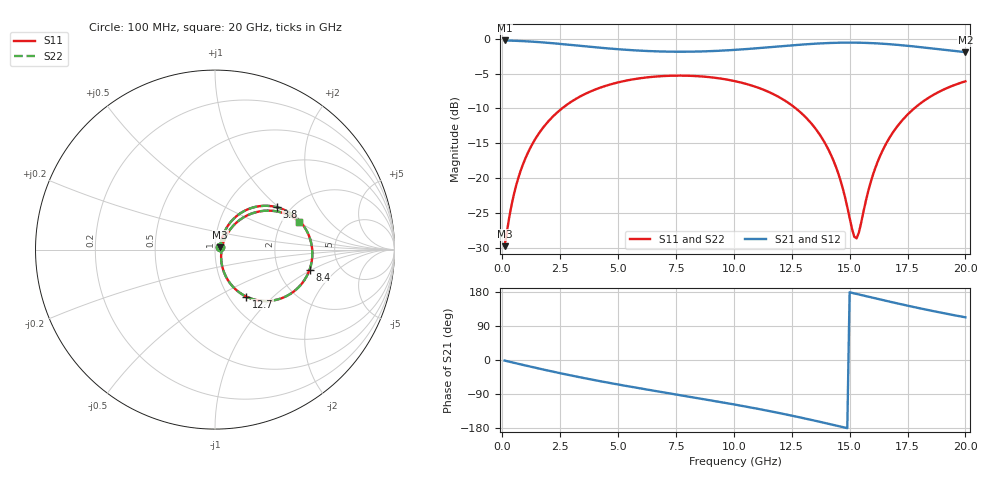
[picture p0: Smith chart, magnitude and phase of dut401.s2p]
! Touchstone file exported from HFSS 2026.1.0
!  File:  C:/ffzhzh/LocalFiles/Ansys_Project_Files/temp_train_TSV_RDL_401_1783092437_50312.aedt
!  Generated:  11:38:22 PM Jul  3, 2026
!  Design:  TSV_RDL
!  Project:  temp_train_TSV_RDL_401_1783092437_50312
! Variables:
!  h_bsmrdl = 3.64um
!  h_ox = 20um
!  h_rdl = 5um
!  h_sub = 70.96um
!  h_tmrdl = 5.43um
!  h_tsv = 70.96um
!  h_via = 3um
!  l_bsmrdl = 910.4um
!  l_sub = 4013.08um
!  l_tmrdl = 194.13um
!  m_sub = 200um
!  pitch = 35.33um
!  r_tsv = 7.24um
!  s_tmrdl = 10um
!  w_bsmrdl = 10.17um
!  w_sub = 500um
!  w_tmrdl = 24.95um
!  x_tsv_center1 = 206.605um
!  x_tsv_center2 = 1127.175um
!  x_tsv_center3 = 1346.255um
!  x_tsv_center4 = 2266.825um
!  x_tsv_center5 = 2485.905um
!  x_tsv_center6 = 3406.475um
# GHz S MA R 50.000000
! Terminal data exported
! Port[1] = TM_RDL1_1_T1
! Port[2] = TM_RDL5_1_T1
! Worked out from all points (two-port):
!   200 points, 100 MHz to 20 GHz, reference 50 ohm
!   highest |S21| = -0.26 dB at 100 MHz (marker M1); lowest = -1.9 dB at 20 GHz (marker M2)
!   |S21| within 3 dB of the highest: start of sweep to end of sweep
!   lowest |S11| = -29.8 dB at 100 MHz (marker M3), VSWR 1.07, Z = 53 + j1.46 ohm
!   |S11| at or under -10 dB: start of sweep to 2.58 GHz; 12.68 GHz to 17.79 GHz (5.113 GHz wide, 33.6 % of centre)
!   |S22| runs from -29.8 to -5.3 dB; largest |S21 - S12| = 1.7e-14
!   S11 on the Smith chart (normalised r, x): 100 MHz: 1.06, +0.03; 3.8 GHz: 1.70, +0.97; 8.4 GHz: 3.01, -0.94; 12.7 GHz: 1.20, -0.70; 20 GHz: 2.47, +1.02
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0.1  0.0325 25.1  0.9708 -1.5  0.9708 -1.5  0.0325 25.1
! Gamma 0 0 0 0
! Port Impedance 50 0 50 0
0.4  0.06414 55.4  0.9676 -5.9  0.9676 -5.9  0.06414 55.4
0.6  0.08877 60.4  0.965 -8.8  0.965 -8.8  0.08877 60.4
1.2  0.1636 61.1  0.9541 -17.3  0.9541 -17.3  0.1636 61.1
2.2  0.278 52.1  0.9268 -30.9  0.9268 -30.9  0.278 52.1
3.5  0.3956 37.7  0.8839 -47.4  0.8839 -47.4  0.3956 37.7
3.8  0.4175 34.5  0.8742 -50.9  0.8742 -50.9  0.4175 34.5
5.4  0.5022 17.6  0.8308 -69.0  0.8308 -69.0  0.5022 17.6
6.8  0.5376 3.7  0.8096 -83.7  0.8096 -83.7  0.5376 3.7
8.4  0.5388 -11.9  0.8082 -100.1  0.8082 -100.1  0.5388 -11.9
10.1  0.4937 -28.9  0.8322 -118.2  0.8322 -118.2  0.4937 -28.9
11.5  0.4152 -43.5  0.8672 -134.3  0.8672 -134.3  0.4152 -43.5
12.7  0.314 -56.4  0.9008 -149.4  0.9008 -149.4  0.314 -56.4
13.4  0.2405 -63.4  0.918 -158.8  0.918 -158.8  0.2405 -63.4
14.4  0.1215 -68.0  0.9341 -172.7  0.9341 -172.7  0.1215 -68.1
14.7  0.08493 -64.1  0.9363 -177.0  0.9363 -177.0  0.08487 -64.2
15.2  0.03801 -21.4  0.9366 175.8  0.9366 175.8  0.03789 -21.5
15.3  0.03697 -2.1  0.9362 174.3  0.9362 174.3  0.03684 -2.1
16  0.1046 51.6  0.9285 164.3  0.9285 164.3  0.1046 51.7
16.7  0.1919 51.6  0.9133 154.4  0.9133 154.4  0.1919 51.6
18.1  0.3476 38.4  0.8678 135.5  0.8678 135.5  0.3475 38.5
20  0.4945 18.4  0.8005 112.6  0.8005 112.6  0.4945 18.4
